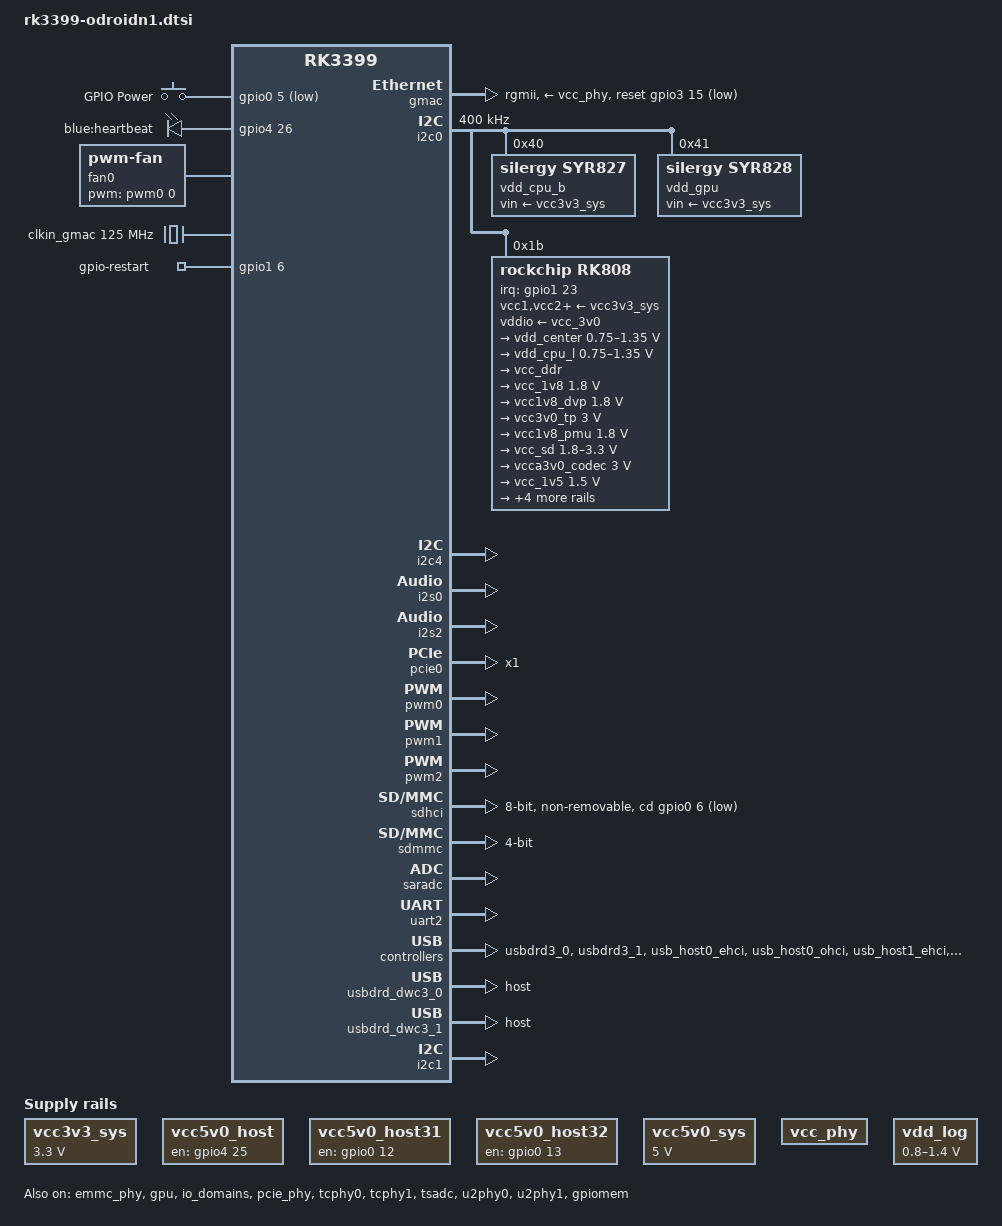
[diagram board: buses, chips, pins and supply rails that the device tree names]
/*
 * Copyright (c) 2016 Fuzhou Rockchip Electronics Co., Ltd
 *
 * This file is dual-licensed: you can use it either under the terms
 * of the GPL or the X11 license, at your option. Note that this dual
 * licensing only applies to this file, and not this project as a
 * whole.
 *
 *  a) This file is free software; you can redistribute it and/or
 *     modify it under the terms of the GNU General Public License as
 *     published by the Free Software Foundation; either version 2 of the
 *     License, or (at your option) any later version.
 *
 *     This file is distributed in the hope that it will be useful,
 *     but WITHOUT ANY WARRANTY; without even the implied warranty of
 *     MERCHANTABILITY or FITNESS FOR A PARTICULAR PURPOSE.  See the
 *     GNU General Public License for more details.
 *
 * Or, alternatively,
 *
 *  b) Permission is hereby granted, free of charge, to any person
 *     obtaining a copy of this software and associated documentation
 *     files (the "Software"), to deal in the Software without
 *     restriction, including without limitation the rights to use,
 *     copy, modify, merge, publish, distribute, sublicense, and/or
 *     sell copies of the Software, and to permit persons to whom the
 *     Software is furnished to do so, subject to the following
 *     conditions:
 *
 *     The above copyright notice and this permission notice shall be
 *     included in all copies or substantial portions of the Software.
 *
 *     THE SOFTWARE IS PROVIDED "AS IS", WITHOUT WARRANTY OF ANY KIND,
 *     EXPRESS OR IMPLIED, INCLUDING BUT NOT LIMITED TO THE WARRANTIES
 *     OF MERCHANTABILITY, FITNESS FOR A PARTICULAR PURPOSE AND
 *     NONINFRINGEMENT. IN NO EVENT SHALL THE AUTHORS OR COPYRIGHT
 *     HOLDERS BE LIABLE FOR ANY CLAIM, DAMAGES OR OTHER LIABILITY,
 *     WHETHER IN AN ACTION OF CONTRACT, TORT OR OTHERWISE, ARISING
 *     FROM, OUT OF OR IN CONNECTION WITH THE SOFTWARE OR THE USE OR
 *     OTHER DEALINGS IN THE SOFTWARE.
 */

#include "dt-bindings/pwm/pwm.h"
#include "rk3399.dtsi"
#include "rk3399-opp.dtsi"

/ {
	compatible = "rockchip,rk3399-odroidn1-rev0", "rockchip,rk3399";

	keys: gpio-keys {
		compatible = "gpio-keys";
		#address-cells = <1>;
		#size-cells = <0>;
		pinctrl-names = "default";
		pinctrl-0 = <&pwr_key>;

		button@0 {
			gpio-key,wakeup = <1>;
			gpios = <&gpio0 5 GPIO_ACTIVE_LOW>;
			label = "GPIO Power";
			linux,code = <116>;
		};
	};

	leds: gpio_leds {
		compatible = "gpio-leds";

		pinctrl-names = "led_pins";
		pinctrl-0 = <&led_pins>;

                /* Blue LED : GPIO4_D2 */
                heartbeat {
                        label = "blue:heartbeat";
                        gpios = <&gpio4 26 GPIO_ACTIVE_HIGH>;
                        linux,default-trigger = "heartbeat";
                };
	};

	fan0: pwm-fan {
		compatible = "pwm-fan";
		status = "okay";
		pwms = <&pwm0 0 40000 1>; /* 25 kHz */

		cooling-min-state = <0>;
		cooling-max-state = <3>;
		#cooling-cells = <2>;
		cooling-levels = <0 125 102 51>; /* PWM duty cycle */
	};

	clkin_gmac: external-gmac-clock {
		compatible = "fixed-clock";
		clock-frequency = <125000000>;
		clock-output-names = "clkin_gmac";
		#clock-cells = <0>;
	};

	dw_hdmi_audio: dw-hdmi-audio {
		status = "disabled";
		compatible = "rockchip,dw-hdmi-audio";
		#sound-dai-cells = <0>;
	};

	hdmi_sound: hdmi-sound {
		status = "disabled";
		compatible = "simple-audio-card";
		simple-audio-card,format = "i2s";
		simple-audio-card,mclk-fs = <256>;
		simple-audio-card,name = "rockchip,hdmi";

		simple-audio-card,cpu {
			sound-dai = <&i2s2>;
		};
		simple-audio-card,codec {
			sound-dai = <&hdmi>;
		};
	};

	vcc3v3_sys: vcc3v3-sys {
		compatible = "regulator-fixed";
		regulator-name = "vcc3v3_sys";
		regulator-always-on;
		regulator-boot-on;
		regulator-min-microvolt = <3300000>;
		regulator-max-microvolt = <3300000>;
	};

	vcc5v0_host: vcc5v0-host-regulator {
		compatible = "regulator-fixed";
		enable-active-high;
		gpio = <&gpio4 25 GPIO_ACTIVE_HIGH>;
		pinctrl-names = "default";
		pinctrl-0 = <&host_vbus_drv>;
		regulator-name = "vcc5v0_host";
		regulator-always-on;
	};

	vcc5v0_host31: vcc5v0-host31-regulator {
		compatible = "regulator-fixed";
		enable-active-high;
		gpio = <&gpio0 12 GPIO_ACTIVE_HIGH>;
		pinctrl-names = "default";
		pinctrl-0 = <&host31_vbus_drv>;
		regulator-name = "vcc5v0_host31";
	};

	vcc5v0_host32: vcc5v0-host32-regulator {
		compatible = "regulator-fixed";
		enable-active-high;
		gpio = <&gpio0 13 GPIO_ACTIVE_HIGH>;
		pinctrl-names = "default";
		pinctrl-0 = <&host32_vbus_drv>;
		regulator-name = "vcc5v0_host32";
	};

	vcc5v0_sys: vcc5v0-sys {
		compatible = "regulator-fixed";
		regulator-name = "vcc5v0_sys";
		regulator-always-on;
		regulator-boot-on;
		regulator-min-microvolt = <5000000>;
		regulator-max-microvolt = <5000000>;
	};

	vcc_phy: vcc-phy-regulator {
		compatible = "regulator-fixed";
		regulator-name = "vcc_phy";
		regulator-always-on;
		regulator-boot-on;
	};

	vdd_log: vdd-log {
		compatible = "pwm-regulator";
		pwms = <&pwm2 0 25000 1>;
		regulator-name = "vdd_log";
		regulator-min-microvolt = <800000>;
		regulator-max-microvolt = <1400000>;
		regulator-always-on;
		regulator-boot-on;

		/* for rockchip boot on */
		rockchip,pwm_id= <2>;
		rockchip,pwm_voltage = <1000000>;
	};

	odroid_sysfs: odroid-sysfs {
		status = "okay";
		compatible = "odroid-sysfs";
	};

	gpio-restart {
		compatible = "gpio-restart";
		gpios = <&gpio1 6 GPIO_ACTIVE_HIGH>;
		open-source;
		priority = <255>; /* Highest priority */
	};

	gpiomem {
		compatible = "rockchip,rock-gpiomem";
		reg = <0 0xff720000 0 0x20000>,
		      <0 0xff780000 0 0x18000>;
		status = "okay";
	};

	gpio_keys_polled {
		status = "disabled";
		compatible =
			"gpio-keys-polled";
		#address-cells = <1>;
		#size-cells = <0>;
		poll-interval = <100>;
		autorepeat;
		button@1 {
			label = "GPIO Key F7";
			linux,code = <65>;
			gpios = <&gpio1 1 GPIO_ACTIVE_HIGH>;
		};
		button@2 {
			label = "GPIO Key F8";
			linux,code = <66>;
			gpios = <&gpio1 3 GPIO_ACTIVE_HIGH>;
		};
		button@3 {
			label = "GPIO Key F9";
			linux,code = <67>;
			gpios = <&gpio1 4 GPIO_ACTIVE_HIGH>;
		};
		button@4 {
			label = "GPIO Key F10";
			linux,code = <68>;
			gpios = <&gpio1 13 GPIO_ACTIVE_HIGH>;
		};
	};

	odroid_encoder {
		compatible = "odroid-encoder";
		status = "ok";
	};
};

&cpu_l0 {
	cpu-supply = <&vdd_cpu_l>;
};

&cpu_l1 {
	cpu-supply = <&vdd_cpu_l>;
};

&cpu_l2 {
	cpu-supply = <&vdd_cpu_l>;
};

&cpu_l3 {
	cpu-supply = <&vdd_cpu_l>;
};

&cpu_b0 {
	cpu-supply = <&vdd_cpu_b>;
};

&cpu_b1 {
	cpu-supply = <&vdd_cpu_b>;
};

&emmc_phy {
	status = "okay";
};

&gmac {
	phy-supply = <&vcc_phy>;
	phy-mode = "rgmii";
	clock_in_out = "input";
	snps,reset-gpio = <&gpio3 15 GPIO_ACTIVE_LOW>;
	snps,reset-active-low;
	snps,reset-delays-us = <0 10000 50000>;
	assigned-clocks = <&cru SCLK_RMII_SRC>;
	assigned-clock-parents = <&clkin_gmac>;
	pinctrl-names = "default";
	pinctrl-0 = <&rgmii_pins>;
	tx_delay = <0x100>;
	rx_delay = <0x11>;
	status = "okay";
};

&gpu {
	status = "okay";
	mali-supply = <&vdd_gpu>;
};

&i2c0 {
	status = "okay";
	i2c-scl-rising-time-ns = <168>;
	i2c-scl-falling-time-ns = <4>;
	clock-frequency = <400000>;

	vdd_cpu_b: syr827@40 {
		compatible = "silergy,syr827";
		reg = <0x40>;
		vin-supply = <&vcc3v3_sys>;
		regulator-compatible = "fan53555-reg";
		regulator-name = "vdd_cpu_b";
		regulator-min-microvolt = <712500>;
		regulator-max-microvolt = <1500000>;
		regulator-ramp-delay = <1000>;
		fcs,suspend-voltage-selector = <1>;
		regulator-always-on;
		regulator-boot-on;
		regulator-initial-state = <3>;
			regulator-state-mem {
			regulator-off-in-suspend;
		};
	};

	vdd_gpu: syr828@41 {
		compatible = "silergy,syr828";
		reg = <0x41>;
		vin-supply = <&vcc3v3_sys>;
		regulator-compatible = "fan53555-reg";
		regulator-name = "vdd_gpu";
		regulator-min-microvolt = <712500>;
		regulator-max-microvolt = <1500000>;
		regulator-ramp-delay = <1000>;
		fcs,suspend-voltage-selector = <1>;
		regulator-always-on;
		regulator-boot-on;
		regulator-initial-state = <3>;
			regulator-state-mem {
			regulator-off-in-suspend;
		};
	};

	rk808: pmic@1b {
		compatible = "rockchip,rk808";
		reg = <0x1b>;
		interrupt-parent = <&gpio1>;
		interrupts = <23 IRQ_TYPE_LEVEL_LOW>;
		pinctrl-names = "default";
		pinctrl-0 = <&pmic_int_l>;
		rockchip,system-power-controller;
		wakeup-source;
		#clock-cells = <1>;
		clock-output-names = "xin32k", "rk808-clkout2";

		vcc1-supply = <&vcc3v3_sys>;
		vcc2-supply = <&vcc3v3_sys>;
		vcc3-supply = <&vcc3v3_sys>;
		vcc4-supply = <&vcc3v3_sys>;
		vcc6-supply = <&vcc3v3_sys>;
		vcc7-supply = <&vcc3v3_sys>;
		vcc8-supply = <&vcc3v3_sys>;
		vcc9-supply = <&vcc3v3_sys>;
		vcc10-supply = <&vcc3v3_sys>;
		vcc11-supply = <&vcc3v3_sys>;
		vcc12-supply = <&vcc3v3_sys>;
		vddio-supply = <&vcc_3v0>;

		regulators {
			vdd_center: DCDC_REG1 {
				regulator-always-on;
				regulator-boot-on;
				regulator-min-microvolt = <750000>;
				regulator-max-microvolt = <1350000>;
				regulator-ramp-delay = <6001>;
				regulator-name = "vdd_center";
				regulator-state-mem {
					regulator-off-in-suspend;
				};
			};

			vdd_cpu_l: DCDC_REG2 {
				regulator-always-on;
				regulator-boot-on;
				regulator-min-microvolt = <750000>;
				regulator-max-microvolt = <1350000>;
				regulator-ramp-delay = <6001>;
				regulator-name = "vdd_cpu_l";
				regulator-state-mem {
					regulator-off-in-suspend;
				};
			};

			vcc_ddr: DCDC_REG3 {
				regulator-always-on;
				regulator-boot-on;
				regulator-name = "vcc_ddr";
				regulator-state-mem {
					regulator-on-in-suspend;
				};
			};

			vcc_1v8: DCDC_REG4 {
				regulator-always-on;
				regulator-boot-on;
				regulator-min-microvolt = <1800000>;
				regulator-max-microvolt = <1800000>;
				regulator-name = "vcc_1v8";
				regulator-state-mem {
					regulator-on-in-suspend;
					regulator-suspend-microvolt = <1800000>;
				};
			};

			vcc1v8_dvp: LDO_REG1 {
				regulator-always-on;
				regulator-boot-on;
				regulator-min-microvolt = <1800000>;
				regulator-max-microvolt = <1800000>;
				regulator-name = "vcc1v8_dvp";
				regulator-state-mem {
					regulator-off-in-suspend;
				};
			};

			vcc3v0_tp: LDO_REG2 {
				regulator-min-microvolt = <3000000>;
				regulator-max-microvolt = <3000000>;
				regulator-name = "vcc3v0_tp";
				regulator-state-mem {
					regulator-off-in-suspend;
				};
			};

			vcc1v8_pmu: LDO_REG3 {
				regulator-always-on;
				regulator-boot-on;
				regulator-min-microvolt = <1800000>;
				regulator-max-microvolt = <1800000>;
				regulator-name = "vcc1v8_pmu";
				regulator-state-mem {
					regulator-on-in-suspend;
					regulator-suspend-microvolt = <1800000>;
				};
			};

			vcc_sd: LDO_REG4 {
				regulator-always-on;
				regulator-boot-on;
				regulator-min-microvolt = <1800000>;
				regulator-max-microvolt = <3300000>;
				regulator-name = "vcc_sd";
				regulator-state-mem {
					regulator-on-in-suspend;
					regulator-suspend-microvolt = <3300000>;
				};
			};

			vcca3v0_codec: LDO_REG5 {
				regulator-always-on;
				regulator-boot-on;
				regulator-min-microvolt = <3000000>;
				regulator-max-microvolt = <3000000>;
				regulator-name = "vcca3v0_codec";
				regulator-state-mem {
					regulator-off-in-suspend;
				};
			};

			vcc_1v5: LDO_REG6 {
				regulator-always-on;
				regulator-boot-on;
				regulator-min-microvolt = <1500000>;
				regulator-max-microvolt = <1500000>;
				regulator-name = "vcc_1v5";
				regulator-state-mem {
					regulator-on-in-suspend;
					regulator-suspend-microvolt = <1500000>;
				};
			};

			vcca1v8_codec: LDO_REG7 {
				regulator-always-on;
				regulator-boot-on;
				regulator-min-microvolt = <1800000>;
				regulator-max-microvolt = <1800000>;
				regulator-name = "vcca1v8_codec";
				regulator-state-mem {
					regulator-off-in-suspend;
				};
			};

			vcc_3v0: LDO_REG8 {
				regulator-always-on;
				regulator-boot-on;
				regulator-min-microvolt = <3000000>;
				regulator-max-microvolt = <3000000>;
				regulator-name = "vcc_3v0";
				regulator-state-mem {
					regulator-on-in-suspend;
					regulator-suspend-microvolt = <3000000>;
				};
			};

			vcc3v3_s3: SWITCH_REG1 {
				regulator-always-on;
				regulator-boot-on;
				regulator-name = "vcc3v3_s3";
				regulator-state-mem {
					regulator-off-in-suspend;
				};
			};

			vcc3v3_s0: SWITCH_REG2 {
				regulator-always-on;
				regulator-boot-on;
				regulator-name = "vcc3v3_s0";
				regulator-state-mem {
					regulator-off-in-suspend;
				};
			};
		};
	};
};

&i2c4 {
	status = "okay";
	i2c-scl-rising-time-ns = <475>;
	i2c-scl-falling-time-ns = <26>;
};

&i2s0 {
	status = "okay";
	rockchip,i2s-broken-burst-len;
	rockchip,playback-channels = <8>;
	rockchip,capture-channels = <8>;
	#sound-dai-cells = <0>;
};

&i2s2 {
	#sound-dai-cells = <0>;
	status = "okay";
};

&io_domains {
	status = "okay";

	bt656-supply = <&vcc_3v0>;		/* bt656_gpio2ab_ms */
	audio-supply = <&vcca1v8_codec>;	/* audio_gpio3d4a_ms */
	sdmmc-supply = <&vcc_sd>;		/* sdmmc_gpio4b_ms */
	gpio1830-supply = <&vcc_3v0>;		/* gpio1833_gpio4cd_ms */
};

&pcie_phy {
	status = "okay";
};

&pcie0 {
	assigned-clocks = <&cru SCLK_PCIEPHY_REF>;
	assigned-clock-parents = <&cru SCLK_PCIEPHY_REF100M>;
	assigned-clock-rates = <100000000>;
	ep-gpios = <&gpio2 18 GPIO_ACTIVE_HIGH>;
	num-lanes = <1>;
	pinctrl-names = "default";
	pinctrl-0 = <&pcie_clkreqn>;
	status = "okay";
};

&pmu_io_domains {
	status = "okay";
	pmu1830-supply = <&vcc_3v0>;
};

&pwm0 {
	status = "okay";
};

&pwm1 {
	status = "okay";
};

&pwm2 {
	status = "okay";
};

&sdhci {
	bus-width = <8>;
	mmc-hs400-1_8v;
	supports-emmc;
	disable-wp;
	non-removable;
	keep-power-in-suspend;
	mmc-hs400-enhanced-strobe;
	cd-gpios = <&gpio0 6 GPIO_ACTIVE_LOW>;
	status = "okay";
};

&sdio0 {
	status = "disabled";
};

&sdmmc {
	clock-frequency = <150000000>;
	clock-freq-min-max = <100000 150000000>;
	supports-sd;
	bus-width = <4>;
	cap-mmc-highspeed;
	cap-sd-highspeed;
	supports-highspeed;
	card-detect-delay = <800>;
	disable-wp;
	num-slots = <1>;
	mmc-ddr-1_8v;
	sd-uhs-sdr104;
	sd-uhs-ddr50;
	vqmmc-supply = <&vcc_sd>;
	pinctrl-names = "default";
	pinctrl-0 = <&sdmmc_clk &sdmmc_cmd &sdmmc_cd &sdmmc_bus4>;
	status = "okay";
};

&saradc {
	status = "okay";
};

&tcphy0 {
	status = "okay";
};

&tcphy1 {
	status = "okay";
};

&soc_thermal {
	polling-delay-passive = <20>; /* milliseconds */
	polling-delay = <1000>; /* milliseconds */
	sustainable-power = <1000>; /* milliwatts */

	thermal-sensors = <&tsadc 0>;

	trips {
		/* fan active thermal point */
		cpu_alert0: trip-point@0 {
				temperature = <50000>; /* millicelsius */
				hysteresis = <10000>; /* millicelsius */
				type = "active";
		};
		cpu_alert1: trip-point@1 {
				temperature = <55000>; /* millicelsius */
				hysteresis = <10000>; /* millicelsius */
				type = "active";
		};
		cpu_alert2: trip-point@2 {
				temperature = <60000>; /* millicelsius */
				hysteresis = <10000>; /* millicelsius */
				type = "active";
		};

		/* big cluster thermal point */
		cpu_alert3: trip-point@3 {
				temperature = <80000>; /* millicelsius */
				hysteresis = <2000>; /* millicelsius */
				type = "passive";
		};
		cpu_alert4: trip-point@4 {
				temperature = <82000>; /* millicelsius */
				hysteresis = <2000>; /* millicelsius */
				type = "passive";
		};
		cpu_alert5: trip-point@5 {
				temperature = <85000>; /* millicelsius */
				hysteresis = <2000>; /* millicelsius */
				type = "passive";
		};
		cpu_alert6: trip-point@6 {
				temperature = <88000>; /* millicelsius */
				hysteresis = <2000>; /* millicelsius */
				type = "passive";
		};

		/* little cluster thermal point */
		cpu_alert7: trip-point@7 {
				temperature = <90000>; /* millicelsius */
				hysteresis = <2000>; /* millicelsius */
				type = "passive";
		};
		cpu_alert8: trip-point@8 {
				temperature = <92000>; /* millicelsius */
				hysteresis = <2000>; /* millicelsius */
				type = "passive";
		};
		cpu_alert9: trip-point@9 {
				 temperature = <95000>; /* millicelsius */
				 hysteresis = <2000>; /* millicelsius */
				 type = "passive";
		 };
		soc_crit: soc-crit {
			  temperature = <120000>; /* millicelsius */
			  hysteresis = <2000>; /* millicelsius */
			  type = "critical";
		  };
	};

	cooling-maps {
		/* fan cooling map */
		map0 {
			trip = <&cpu_alert0>;
			cooling-device =
				<&fan0 0 1>;
		};
		map1 {
			trip = <&cpu_alert1>;
			cooling-device =
				<&fan0 1 2>;
		};
		map2 {
			trip = <&cpu_alert2>;
			cooling-device =
				<&fan0 2 3>;
		};

		/* cpu cooling map */
		/* big cluster */
		map3 {
			trip = <&cpu_alert3>;
			cooling-device =
				<&cpu_b0 0 2>;
			contribution = <4096>;
		};
		map4 {
			trip = <&cpu_alert4>;
			cooling-device =
				<&cpu_b0 2 4>;
			contribution = <4096>;
		};
		map5 {
			trip = <&cpu_alert5>;
			cooling-device =
				<&cpu_b0 4 7>;
			contribution = <4096>;
		};
		map6 {
			trip = <&cpu_alert6>;
			cooling-device =
				<&cpu_b0 4 7>;
			contribution = <4096>;
		};

		/* little cluster */
		map7 {
			trip = <&cpu_alert7>;
			cooling-device =
				<&cpu_l0 0 2>;
			contribution = <1024>;
		};
		map8 {
			trip = <&cpu_alert8>;
			cooling-device =
				<&cpu_l0 2 5>;
			contribution = <1024>;
		};

		map9 {
			trip = <&cpu_alert9>;
			cooling-device =
				<&gpu THERMAL_NO_LIMIT THERMAL_NO_LIMIT>;
			contribution = <1024>;
		};
	};
};

&tsadc {
	/* tshut mode 0:CRU 1:GPIO */
	rockchip,hw-tshut-mode = <1>;
	/* tshut polarity 0:LOW 1:HIGH */
	rockchip,hw-tshut-polarity = <1>;
	status = "okay";
};

&u2phy0 {
	status = "okay";

	u2phy0_otg: otg-port {
		phy-supply = <&vcc5v0_host31>;
		status = "okay";
	};

	u2phy0_host: host-port {
		phy-supply = <&vcc5v0_host>;
		status = "okay";
	};
};

&u2phy1 {
	status = "okay";

	u2phy1_otg: otg-port {
		phy-supply = <&vcc5v0_host32>;
		status = "okay";
	};

	u2phy1_host: host-port {
		phy-supply = <&vcc5v0_host>;
		status = "okay";
	};
};

&uart2 {
	status = "okay";
};

&usbdrd3_0 {
	status = "okay";
};

&usbdrd3_1 {
	status = "okay";
};

&usbdrd_dwc3_0 {
	status = "okay";
	dr_mode = "host";
};

&usbdrd_dwc3_1 {
	status = "okay";
	dr_mode = "host";
};

&usb_host0_ehci {
	status = "okay";
};

&usb_host0_ohci {
	status = "okay";
};

&usb_host1_ehci {
	status = "okay";
};

&usb_host1_ohci {
	status = "okay";
};

&pinctrl {
	pmic {
		pmic_int_l: pmic-int-l {
			rockchip,pins =
				<1 23 RK_FUNC_GPIO &pcfg_pull_up>;
		};
	};

	usb2 {
		host_vbus_drv: host-vbus-drv {
			rockchip,pins =
				<4 25 RK_FUNC_GPIO &pcfg_pull_none>;
		};

		host31_vbus_drv: host31-vbus-drv {
			rockchip,pins =
				<0 12 RK_FUNC_GPIO &pcfg_pull_none>;
		};

		host32_vbus_drv: host32-vbus-drv {
			rockchip,pins =
				<0 13 RK_FUNC_GPIO &pcfg_pull_none>;
		};
	};
};

&spdif {
	status = "disabled";
};

&i2c1 {
	status = "okay";
	i2c-scl-rising-time-ns = <300>;
	i2c-scl-falling-time-ns = <15>;
};

&i2c4 {
	status = "okay";
	i2c-scl-rising-time-ns = <600>;
	i2c-scl-falling-time-ns = <20>;
};

&saradc {
	status = "okay";
};

&rockchip_suspend {
	status = "okay";
	rockchip,sleep-debug-en = <1>;
	rockchip,sleep-mode-config = <
		(0
		| RKPM_SLP_ARMPD
		| RKPM_SLP_PERILPPD
		| RKPM_SLP_DDR_RET
		| RKPM_SLP_PLLPD
		| RKPM_SLP_CENTER_PD
		| RKPM_SLP_AP_PWROFF
		)
		>;
	rockchip,wakeup-config = <
		(0
		| RKPM_GPIO_WKUP_EN
		)
		>;
	rockchip,pwm-regulator-config = <
		(0
		| PWM2_REGULATOR_EN
		)
		>;
	rockchip,power-ctrl =
		<&gpio1 17 GPIO_ACTIVE_HIGH>,
		<&gpio1 14 GPIO_ACTIVE_HIGH>;
};

&pinctrl {
	keys {
		pwr_key: pwr-key {
			rockchip,pins = <0 5 RK_FUNC_GPIO &pcfg_pull_up>;
		};
	};

	leds {
		led_pins: led-pins {
			rockchip,pins = <4 26 RK_FUNC_GPIO &pcfg_pull_none>;
		};
	};
};
